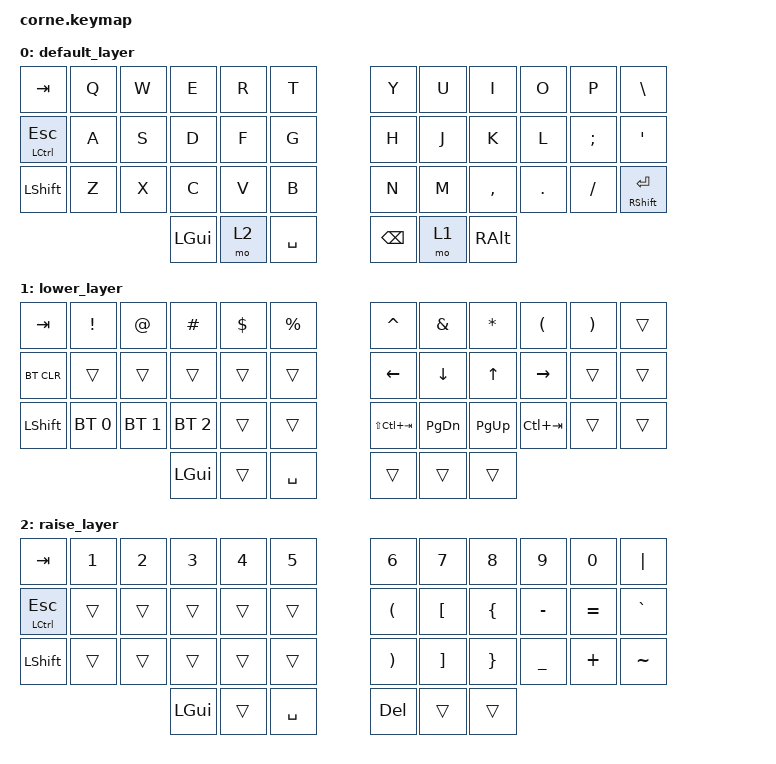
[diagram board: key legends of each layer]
/*
 * Copyright (c) 2020 The ZMK Contributors
 *
 * SPDX-License-Identifier: MIT
 */

#include <behaviors.dtsi>
#include <dt-bindings/zmk/keys.h>
#include <dt-bindings/zmk/bt.h>

// Helpful editor https://nickcoutsos.github.io/keymap-editor/

/ {
        keymap {
                compatible = "zmk,keymap";

                default_layer {
// -----------------------------------------------------------------------------------------
// | TAB      |  Q  |  W  |  E  |  R  |  T  |         |  Y  |  U   |  I  |  O  |  P  |  \  |
// | CTRL/ESC |  A  |  S  |  D  |  F  |  G  |         |  H  |  J   |  K  |  L  |  ;  |  '  |
// | SHFT     |  Z  |  X  |  C  |  V  |  B  |         |  N  |  M   |  ,  |  .  |  /  | ENT/SHFT  
//                        | GUI | RSE | SPC |         | BKSP | LWR  | ALT |
                        bindings = <
    &kp TAB       &kp Q &kp W &kp E &kp R &kp T       &kp Y &kp U  &kp I     &kp O   &kp P    &kp BSLH 
    &mt LCTRL ESC &kp A &kp S &kp D &kp F &kp G       &kp H &kp J  &kp K     &kp L   &kp SEMI &kp SQT
    &kp LSHFT     &kp Z &kp X &kp C &kp V &kp B       &kp N &kp M  &kp COMMA &kp DOT &kp FSLH &mt RSHFT RET
                         &kp LGUI &mo 2 &kp SPACE     &kp BSPC &mo 1 &kp RALT
                        >;
                };
                lower_layer {
// -----------------------------------------------------------------------------------------
// |  TAB |  !  |  @  |  #  |  $  |  %  |                      |  ^   |  &   |  *   |  (   |  )  |      |
// | BTCLR|     |     |     |     |     |                      | LFT  | DWN  |  UP  | RGT  |     |      |
// | SHFT | BT0 | BT1 | BT2 |     |     |                      |lftTab| PGdn | PGup |rgtTab|     |      |
//                    | GUI |     | SPC |                      | BKSP |      | ALT  |
                        bindings = <
   &kp TAB    &kp EXCL &kp AT &kp HASH &kp DLLR  &kp PRCNT         &kp CARET &kp AMPS &kp ASTRK &kp LPAR  &kp RPAR  &trans
   &bt BT_CLR &trans   &trans &trans   &trans    &trans            &kp LEFT  &kp DOWN &kp UP    &kp RIGHT &trans    &trans
&kp LSHFT  &bt BT_SEL 0 &bt BT_SEL 1 &bt BT_SEL 2 &trans &trans    &kp LS(LC(TAB)) &kp PG_DN &kp PG_UP &kp LC(TAB) &trans &trans
                   &kp LGUI     &trans       &kp SPACE             &trans  &trans    &trans
                        >;
                };

                raise_layer {
// -----------------------------------------------------------------------------------------
// |  TAB   |  1  |  2  |  3  |  4  |  5  |              |  6  |  7  |  8  |  9  |  0  | "|" |
// |CTRL/ESC|     |     |     |     |  +  |              |  (  |  [  |  {  |  -  |  =  |  `  |
// |  SHFT  |     |     |     |     |  +  |              |  )  |  ]  |  }  |  _  |  +  |  ~  |
//                      | GUI |     | SPC |              | DEL |     | ALT |
                        bindings = <
   &kp TAB      &kp N1 &kp N2 &kp N3 &kp N4 &kp N5       &kp N6   &kp N7   &kp N8   &kp N9    &kp N0    &kp PIPE
  &mt LCTRL ESC &trans &trans &trans &trans &trans       &kp LPAR &kp LBKT &kp LBRC &kp MINUS &kp EQUAL &kp GRAVE
   &kp  LSHFT   &trans &trans &trans &trans &trans       &kp RPAR &kp RBKT &kp RBRC &kp UNDER &kp PLUS  &kp TILDE
                         &kp LGUI &trans &kp SPACE       &kp DEL   &trans  &trans
                        >;
                };
        };
};
